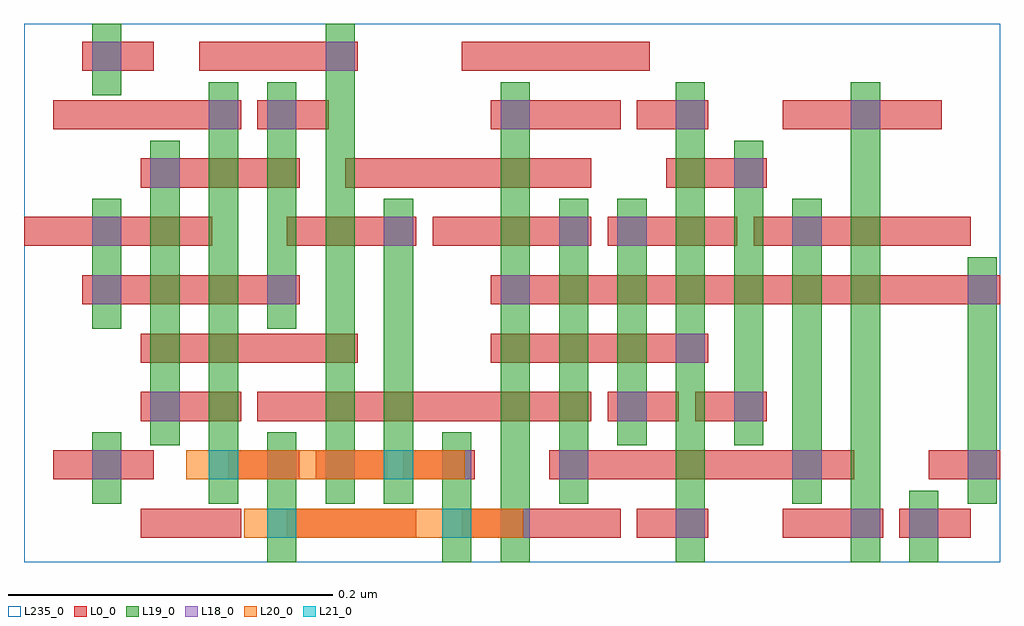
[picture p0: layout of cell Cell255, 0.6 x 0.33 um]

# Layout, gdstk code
import gdstk
lib = gdstk.Library(unit=1e-6, precision=2.5e-10)
def R(c, l, rs):  # rectangles x0, y0, x1, y1
    for r in rs: c.add(gdstk.rectangle(r[:2], r[2:], *l))
def A(c, l, x, y, w, h, nx, ny, dx, dy):  # array of equal rectangles
    R(c, l, [(x+i*dx, y+j*dy, x+i*dx+w, y+j*dy+h) for i in range(nx) for j in range(ny)])
L0_0 = (0, 0)
L18_0 = (18, 0)
L19_0 = (19, 0)
L20_0 = (20, 0)
L21_0 = (21, 0)
L235_0 = (235, 0)

cell255 = lib.new_cell('Cell255')
A(cell255, L0_0, 0.13, 0.035, 0.044, 0.018, 3, 1, 0.054, 0)
R(cell255, L0_0, [(0.076,-0.001,0.138,0.017), (0.166,-0.001,0.246,0.017), (0.274,-0.001,0.372,0.017), (0.382,-0.001,0.426,0.017), (0.472,-0.001,0.534,0.017), (0.544,-0.001,0.588,0.017), (0.022,0.035,0.084,0.053), (0.328,0.035,0.516,0.053), (0.562,0.035,0.606,0.053), (0.076,0.071,0.138,0.089), (0.148,0.071,0.354,0.089), (0.364,0.071,0.408,0.089), (0.418,0.071,0.462,0.089), (0.076,0.107,0.21,0.125), (0.292,0.107,0.426,0.125), (0.04,0.143,0.174,0.161), (0.292,0.143,0.606,0.161), (0.004,0.179,0.12,0.197), (0.166,0.179,0.246,0.197), (0.256,0.179,0.354,0.197), (0.364,0.179,0.444,0.197), (0.454,0.179,0.588,0.197), (0.076,0.215,0.174,0.233), (0.202,0.215,0.354,0.233), (0.4,0.215,0.462,0.233), (0.022,0.251,0.138,0.269), (0.148,0.251,0.192,0.269), (0.292,0.251,0.372,0.269), (0.382,0.251,0.426,0.269), (0.472,0.251,0.57,0.269), (0.04,0.287,0.084,0.305), (0.112,0.287,0.21,0.305), (0.274,0.287,0.39,0.305)])
A(cell255, L18_0, 0.298, -0.001, 0.018, 0.018, 3, 2, 0.108, 0.252)
A(cell255, L18_0, 0.154, 0.035, 0.018, 0.018, 1, 3, 0, 0.108)
A(cell255, L18_0, 0.19, 0.035, 0.018, 0.018, 3, 1, 0.072, 0)
R(cell255, L18_0, [(0.55,-0.001,0.568,0.017), (0.046,0.035,0.064,0.053), (0.478,0.035,0.496,0.053), (0.586,0.035,0.604,0.053), (0.082,0.071,0.1,0.089), (0.37,0.071,0.388,0.089), (0.442,0.071,0.46,0.089), (0.406,0.107,0.424,0.125), (0.046,0.143,0.064,0.161), (0.298,0.143,0.316,0.161), (0.586,0.143,0.604,0.161), (0.046,0.179,0.064,0.197), (0.226,0.179,0.244,0.197), (0.334,0.179,0.352,0.197), (0.37,0.179,0.388,0.197), (0.478,0.179,0.496,0.197), (0.082,0.215,0.1,0.233), (0.442,0.215,0.46,0.233), (0.118,0.251,0.136,0.269), (0.046,0.287,0.064,0.305), (0.19,0.287,0.208,0.305)])
A(cell255, L19_0, 0.298, -0.016, 0.018, 0.296, 3, 1, 0.108, 0)
R(cell255, L19_0, [(0.154,-0.016,0.172,0.064), (0.262,-0.016,0.28,0.064), (0.55,-0.016,0.568,0.028), (0.046,0.02,0.064,0.064), (0.118,0.02,0.136,0.28), (0.19,0.02,0.208,0.316), (0.226,0.02,0.244,0.208), (0.334,0.02,0.352,0.208), (0.478,0.02,0.496,0.208), (0.586,0.02,0.604,0.172), (0.082,0.056,0.1,0.244), (0.37,0.056,0.388,0.208), (0.442,0.056,0.46,0.244), (0.046,0.128,0.064,0.208), (0.154,0.128,0.172,0.28), (0.046,0.272,0.064,0.316)])
R(cell255, L20_0, [(0.14,-0.001,0.312,0.017), (0.104,0.035,0.276,0.053)])
R(cell255, L21_0, [(0.154,-0.001,0.172,0.017), (0.262,-0.001,0.28,0.017), (0.118,0.035,0.136,0.053), (0.226,0.035,0.244,0.053)])
R(cell255, L235_0, [(0.004,-0.016,0.606,0.316)])

lib.write_gds('Cell255.gds')
